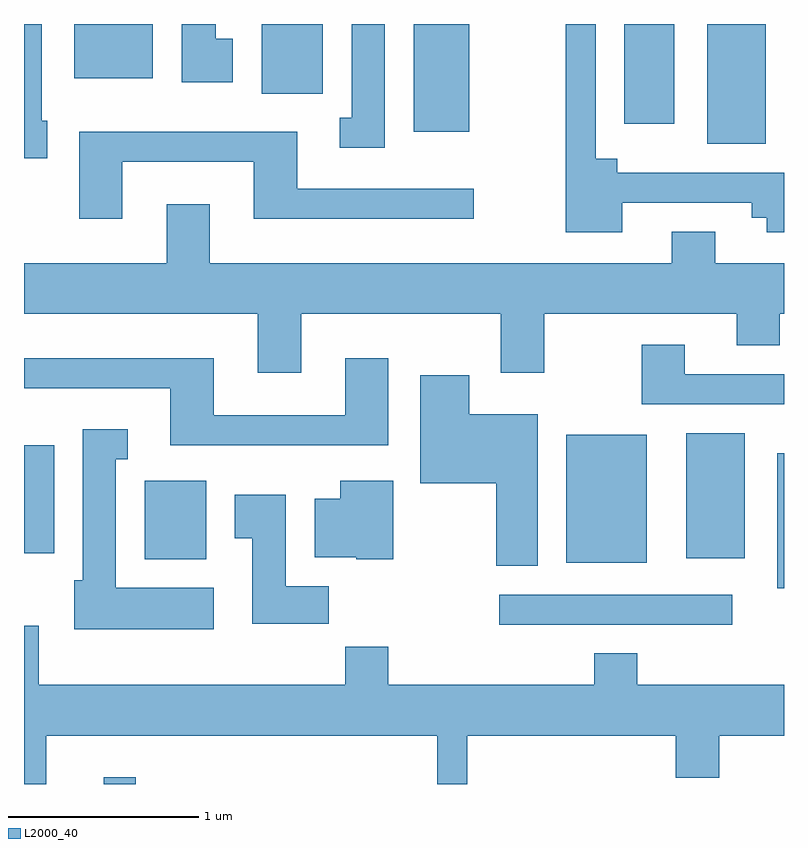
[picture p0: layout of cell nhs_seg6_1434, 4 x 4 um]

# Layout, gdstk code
import gdstk
lib = gdstk.Library(unit=1e-6, precision=1e-09)
def R(c, l, rs):  # rectangles x0, y0, x1, y1
    for r in rs: c.add(gdstk.rectangle(r[:2], r[2:], *l))
def P(c, l, *ps):  # polygons
    for p in ps: c.add(gdstk.Polygon(p, *l))
L2000_40 = (2000, 40)

nhs_seg6_1434 = lib.new_cell('nhs_seg6_1434')
R(nhs_seg6_1434, L2000_40, [(228.031,1614.162,228.199,1614.198), (230.113,1615.001,231.338,1615.159), (231.576,1615.191,231.611,1615.904), (230.466,1615.326,230.889,1615.999), (228.246,1615.346,228.569,1615.759), (231.096,1615.351,231.404,1616.009), (227.611,1615.376,227.769,1615.944), (231.206,1617.531,231.514,1618.162), (229.661,1617.596,229.954,1618.162), (230.771,1617.636,231.034,1618.162), (228.861,1617.796,229.184,1618.162), (227.876,1617.876,228.289,1618.162)])
P(nhs_seg6_1434, L2000_40, [(229.509,1618.162),(229.336,1618.162),(229.336,1617.669),(229.273,1617.669),(229.273,1617.511),(229.509,1617.511)],
  [(228.709,1618.084),(228.619,1618.084),(228.619,1618.162),(228.441,1618.162),(228.441,1617.856),(228.709,1617.856)],
  [(227.734,1617.654),(227.704,1617.654),(227.704,1618.162),(227.611,1618.162),(227.611,1617.456),(227.734,1617.456)],
  [(230.759,1617.221),(231.441,1617.221),(231.441,1617.141),(231.521,1617.141),(231.521,1617.066),(231.611,1617.066),(231.611,1617.379),(230.734,1617.379),(230.734,1617.454),(230.619,1617.454),(230.619,1618.162),(230.461,1618.162),(230.461,1617.066),(230.759,1617.066)],
  [(228.129,1617.436),(228.821,1617.436),(228.821,1617.136),(229.978,1617.136),(229.978,1617.294),(229.049,1617.294),(229.049,1617.594),(227.901,1617.594),(227.901,1617.136),(228.129,1617.136)],
  [(229.069,1616.636),(230.121,1616.636),(230.121,1616.326),(230.349,1616.326),(230.349,1616.636),(231.361,1616.636),(231.361,1616.471),(231.589,1616.471),(231.589,1616.636),(231.611,1616.636),(231.611,1616.904),(231.249,1616.904),(231.249,1617.069),(231.021,1617.069),(231.021,1616.904),(228.589,1616.904),(228.589,1617.214),(228.361,1617.214),(228.361,1616.904),(227.611,1616.904),(227.611,1616.636),(228.841,1616.636),(228.841,1616.326),(229.069,1616.326)],
  [(231.611,1616.319),(231.089,1616.319),(231.089,1616.474),(230.861,1616.474),(230.861,1616.161),(231.611,1616.161)],
  [(229.529,1616.404),(229.301,1616.404),(229.301,1616.104),(228.609,1616.104),(228.609,1616.404),(227.611,1616.404),(227.611,1616.246),(228.381,1616.246),(228.381,1615.946),(229.529,1615.946)],
  [(230.314,1616.109),(229.954,1616.109),(229.954,1616.314),(229.696,1616.314),(229.696,1615.746),(230.096,1615.746),(230.096,1615.311),(230.314,1615.311)],
  [(228.609,1615.194),(228.094,1615.194),(228.094,1615.871),(228.158,1615.871),(228.158,1616.029),(227.921,1616.029),(227.921,1615.234),(227.876,1615.234),(227.876,1614.976),(228.609,1614.976)],
  [(229.554,1615.759),(229.276,1615.759),(229.276,1615.664),(229.141,1615.664),(229.141,1615.356),(229.36,1615.356),(229.36,1615.346),(229.554,1615.346)],
  [(229.214,1615.204),(228.989,1615.204),(228.989,1615.684),(228.721,1615.684),(228.721,1615.456),(228.811,1615.456),(228.811,1615.006),(229.214,1615.006)],
  [(227.729,1614.416),(229.786,1614.416),(229.786,1614.162),(229.944,1614.162),(229.944,1614.416),(231.041,1614.416),(231.041,1614.196),(231.269,1614.196),(231.269,1614.416),(231.611,1614.416),(231.611,1614.684),(230.839,1614.684),(230.839,1614.849),(230.611,1614.849),(230.611,1614.684),(229.529,1614.684),(229.529,1614.884),(229.301,1614.884),(229.301,1614.684),(227.689,1614.684),(227.689,1614.994),(227.611,1614.994),(227.611,1614.162),(227.729,1614.162)])

lib.write_gds('nhs_seg6_1434.gds')
